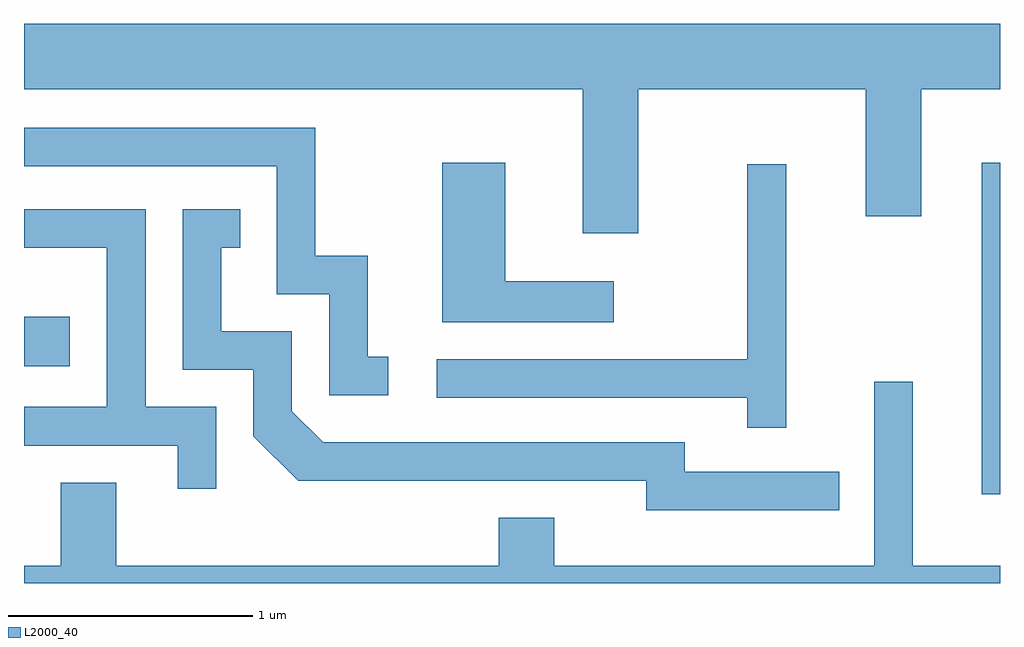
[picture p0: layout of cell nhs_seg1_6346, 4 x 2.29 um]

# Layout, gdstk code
import gdstk
lib = gdstk.Library(unit=1e-6, precision=1e-09)
def R(c, l, rs):  # rectangles x0, y0, x1, y1
    for r in rs: c.add(gdstk.rectangle(r[:2], r[2:], *l))
def P(c, l, *ps):  # polygons
    for p in ps: c.add(gdstk.Polygon(p, *l))
L2000_40 = (2000, 40)

nhs_seg1_6346 = lib.new_cell('nhs_seg1_6346')
R(nhs_seg1_6346, L2000_40, [(379.536,960.076,379.611,961.434), (375.611,960.601,375.799,960.804)])
P(nhs_seg1_6346, L2000_40, [(375.611,961.736),(377.901,961.736),(377.901,961.146),(378.129,961.146),(378.129,961.736),(379.061,961.736),(379.061,961.216),(379.289,961.216),(379.289,961.736),(379.611,961.736),(379.611,962.004),(375.611,962.004)],
  [(377.103,960.639),(377.019,960.639),(377.019,961.054),(376.804,961.054),(376.804,961.579),(375.611,961.579),(375.611,961.421),(376.646,961.421),(376.646,960.896),(376.861,960.896),(376.861,960.481),(377.103,960.481)],
  [(378.028,960.949),(377.584,960.949),(377.584,961.434),(377.326,961.434),(377.326,960.781),(378.028,960.781)],
  [(378.734,961.428),(378.576,961.428),(378.576,960.629),(377.303,960.629),(377.303,960.471),(378.576,960.471),(378.576,960.348),(378.734,960.348)],
  [(378.953,960.169),(378.319,960.169),(378.319,960.289),(376.837,960.289),(376.709,960.417),(376.709,960.744),(376.419,960.744),(376.419,961.086),(376.498,961.086),(376.498,961.244),(376.261,961.244),(376.261,960.586),(376.551,960.586),(376.551,960.314),(376.734,960.131),(378.161,960.131),(378.161,960.011),(378.953,960.011)],
  [(376.399,960.434),(376.109,960.434),(376.109,961.244),(375.611,961.244),(375.611,961.086),(375.951,961.086),(375.951,960.434),(375.611,960.434),(375.611,960.276),(376.241,960.276),(376.241,960.098),(376.399,960.098)],
  [(377.556,959.979),(377.556,959.784),(375.989,959.784),(375.989,960.124),(375.761,960.124),(375.761,959.784),(375.611,959.784),(375.611,959.712),(379.611,959.712),(379.611,959.784),(379.254,959.784),(379.254,960.538),(379.096,960.538),(379.096,959.784),(377.784,959.784),(377.784,959.979)])

lib.write_gds('nhs_seg1_6346.gds')
